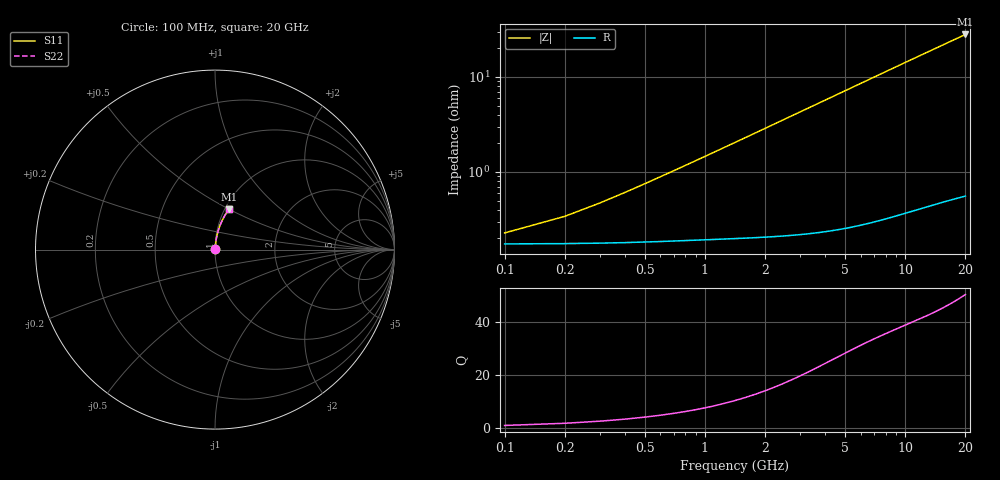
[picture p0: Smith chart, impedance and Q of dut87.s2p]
! Touchstone file exported from HFSS 2026.1.0
!  File:  C:/ffzhzh/LocalFiles/Ansys_Project_Files/temp_train_TMRDL_87_1782881487_46784.aedt
!  Generated:  12:52:40 PM Jul  1, 2026
!  Design:  TMRDL
!  Project:  temp_train_TMRDL_87_1782881487_46784
! Variables:
!  h_bsmrdl = 2um
!  h_ox = 20um
!  h_rdl = 5um
!  h_sub = 80um
!  h_tmrdl = 3.42um
!  h_tsv = 80um
!  h_via = 3um
!  l_bsmrdl = 300um
!  l_sub = 562.89um
!  l_tmrdl = 162.89um
!  m_sub = 200um
!  pitch = 53.55um
!  r_tsv = 6um
!  s_tmrdl = 10um
!  w_bsmrdl = 18um
!  w_sub = 500um
!  w_tmrdl = 10.57um
!  x_tsv_center1 = 168.175um
!  x_tsv_center2 = 486.175um
!  x_tsv_center3 = 659.635um
!  x_tsv_center4 = 977.635um
!  x_tsv_center5 = 1151.095um
!  x_tsv_center6 = 1469.095um
# GHz S MA R 50.000000
! Terminal data exported
! Port[1] = TM_RDL1_1_T1
! Port[2] = TM_RDL1_1_T2
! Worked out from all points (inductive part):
!   200 points, 100 MHz to 20 GHz, reference 50 ohm
!   read as one part in series: L = 231 pH near 400 MHz
!   highest Q = 50.2 at 20 GHz (marker M1), where L = 222 pH
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0.1  0.00217 36.4  0.9983 -0.1  0.9983 -0.1  0.00217 36.4
! Gamma 0 0 0 0
! Port Impedance 50 0 50 0
0.2  0.003118 55.5  0.9982 -0.2  0.9982 -0.2  0.003118 55.5
0.3  0.004246 65.0  0.9982 -0.3  0.9982 -0.3  0.004246 65.0
0.4  0.005437 70.3  0.9982 -0.4  0.9982 -0.4  0.005437 70.3
0.5  0.006653 73.6  0.9982 -0.5  0.9982 -0.5  0.006653 73.6
0.6  0.00788 75.9  0.9981 -0.6  0.9981 -0.6  0.00788 75.9
0.8  0.01035 78.7  0.9981 -0.7  0.9981 -0.7  0.01035 78.7
1.1  0.01406 81.0  0.998 -1.0  0.998 -1.0  0.01406 81.0
1.5  0.01903 82.6  0.9978 -1.4  0.9978 -1.4  0.01903 82.6
1.8  0.02276 83.2  0.9977 -1.7  0.9977 -1.7  0.02276 83.2
2.1  0.02649 83.6  0.9976 -1.9  0.9976 -1.9  0.02649 83.6
2.7  0.03395 83.9  0.9973 -2.5  0.9973 -2.5  0.03395 83.9
3.5  0.0439 83.8  0.9968 -3.2  0.9968 -3.2  0.0439 83.8
4.2  0.05257 83.6  0.9962 -3.8  0.9962 -3.8  0.05257 83.6
5  0.06245 83.1  0.9955 -4.6  0.9955 -4.6  0.06245 83.1
5.9  0.07351 82.5  0.9946 -5.4  0.9946 -5.4  0.07351 82.5
6.8  0.08451 81.8  0.9935 -6.2  0.9935 -6.2  0.08451 81.8
8.3  0.1027 80.7  0.9915 -7.5  0.9915 -7.5  0.1027 80.7
10.1  0.1242 79.2  0.9886 -9.1  0.9886 -9.1  0.1242 79.2
13.4  0.1629 76.5  0.9823 -12.0  0.9823 -12.0  0.1629 76.5
16.7  0.2005 73.7  0.9748 -14.9  0.9748 -14.9  0.2005 73.7
20  0.2369 71.0  0.9662 -17.7  0.9662 -17.7  0.2369 71.0
